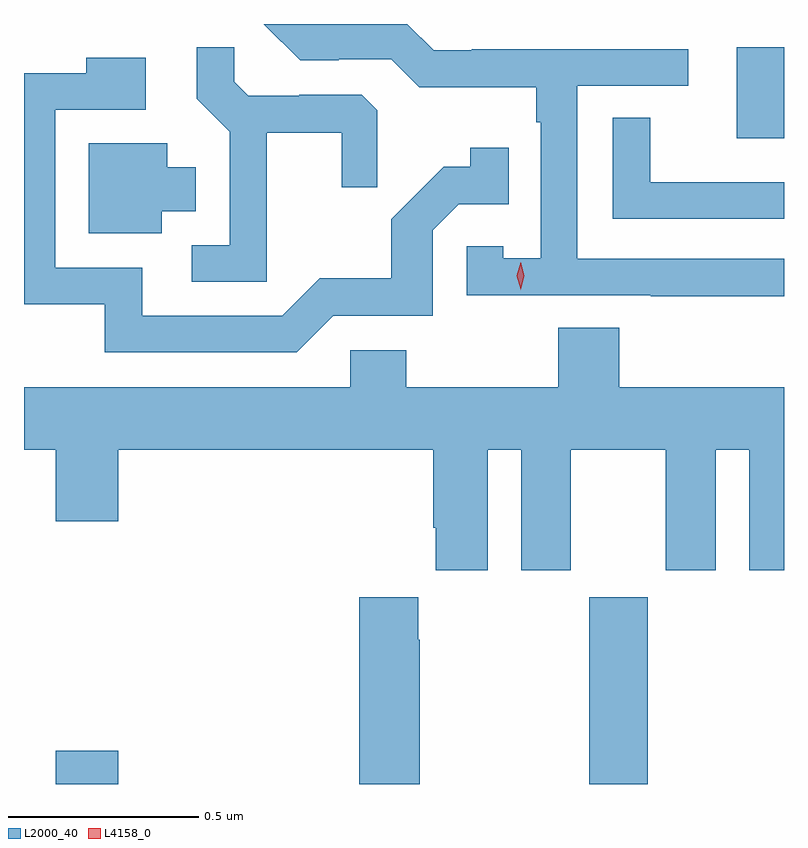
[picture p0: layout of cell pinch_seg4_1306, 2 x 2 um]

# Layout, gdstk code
import gdstk
lib = gdstk.Library(unit=1e-6, precision=1e-09)
def R(c, l, rs):  # rectangles x0, y0, x1, y1
    for r in rs: c.add(gdstk.rectangle(r[:2], r[2:], *l))
def P(c, l, *ps):  # polygons
    for p in ps: c.add(gdstk.Polygon(p, *l))
L2000_40 = (2000, 40)
L4158_0 = (4158, 0)

pinch_seg4_1306 = lib.new_cell('pinch_seg4_1306')
R(pinch_seg4_1306, L2000_40, [(380.792,775.96,380.956,776.047), (382.195,775.96,382.35,776.452), (382.583,777.66,382.708,777.899)])
P(pinch_seg4_1306, L2000_40, [(382.708,777.342),(382.164,777.342),(382.164,777.798),(382.456,777.798),(382.456,777.894),(381.886,777.894),(381.886,777.891),(381.786,777.891),(381.717,777.96),(381.339,777.96),(381.435,777.864),(381.536,777.864),(381.536,777.867),(381.675,777.867),(381.748,777.794),(382.056,777.794),(382.056,777.701),(382.068,777.701),(382.068,777.343),(381.969,777.343),(381.969,777.375),(381.873,777.375),(381.873,777.246),(382.357,777.246),(382.357,777.244),(382.708,777.244)],
  [(381.347,777.674),(381.544,777.674),(381.544,777.531),(381.638,777.531),(381.638,777.733),(381.597,777.774),(381.432,777.774),(381.432,777.771),(381.298,777.771),(381.261,777.808),(381.261,777.899),(381.163,777.899),(381.163,777.763),(381.249,777.677),(381.249,777.378),(381.15,777.378),(381.15,777.282),(381.347,777.282)],
  [(381.522,777.192),(381.783,777.192),(381.783,777.417),(381.852,777.486),(381.983,777.486),(381.983,777.634),(381.882,777.634),(381.882,777.584),(381.812,777.584),(381.675,777.446),(381.675,777.291),(381.486,777.291),(381.387,777.192),(381.019,777.192),(381.019,777.318),(380.79,777.318),(380.79,777.735),(381.028,777.735),(381.028,777.871),(380.872,777.871),(380.872,777.831),(380.708,777.831),(380.708,777.222),(380.921,777.222),(380.921,777.096),(381.426,777.096)],
  [(382.708,777.543),(382.356,777.543),(382.356,777.713),(382.257,777.713),(382.257,777.447),(382.708,777.447)],
  [(381.07,777.467),(381.16,777.467),(381.16,777.583),(381.085,777.583),(381.085,777.646),(380.879,777.646),(380.879,777.41),(381.07,777.41)],
  [(381.928,776.84),(382.016,776.84),(382.016,776.523),(382.147,776.523),(382.147,776.84),(382.397,776.84),(382.397,776.523),(382.528,776.523),(382.528,776.84),(382.616,776.84),(382.616,776.523),(382.708,776.523),(382.708,777.004),(382.274,777.004),(382.274,777.161),(382.114,777.161),(382.114,777.004),(381.714,777.004),(381.714,777.102),(381.567,777.102),(381.567,777.004),(380.708,777.004),(380.708,776.84),(380.792,776.84),(380.792,776.652),(380.956,776.652),(380.956,776.84),(381.785,776.84),(381.785,776.635),(381.791,776.635),(381.791,776.523),(381.928,776.523)],
  [(381.75,776.339),(381.745,776.339),(381.745,776.452),(381.59,776.452),(381.59,775.96),(381.75,775.96)])
P(pinch_seg4_1306, L4158_0, [(382.015,777.261),(382.015,777.262),(382.005,777.297),(382.015,777.333),(382.015,777.333),(382.015,777.333),(382.025,777.297),(382.015,777.262)])

lib.write_gds('pinch_seg4_1306.gds')
